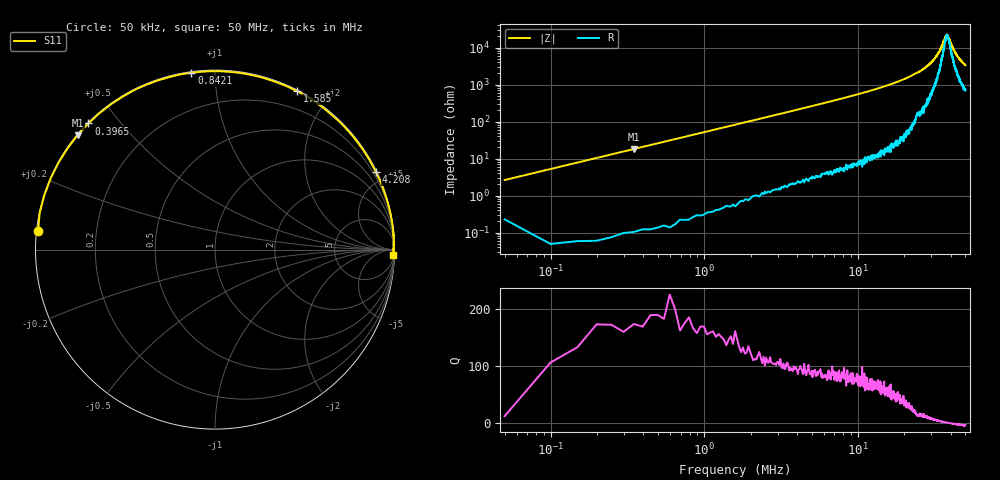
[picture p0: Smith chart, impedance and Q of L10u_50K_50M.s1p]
# HZ S RI R 50
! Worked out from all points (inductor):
!   1010 points, 50 kHz to 50 MHz, reference 50 ohm
!   read as one part to ground: L = 8.29 uH near 297.5 kHz
!   highest Q = 172 at 347 kHz (marker M1), where L = 8.3 uH
!   self-resonance near 38.02 MHz
!   S11 on the Smith chart (normalised r, x): 50 kHz: 0.00, +0.05; 396.5 kHz: 0.00, +0.41; 842.1 kHz: 0.01, +0.88; 1.585 MHz: 0.01, +1.65; 4.208 MHz: 0.04, +4.40; 50 MHz: 15, -65
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50000  -0.9856 0.1035
198512  -0.9154 0.3968
347024  -0.7657 0.6374
396528  -0.7055 0.7028
495536  -0.5768 0.8116
594544  -0.4448 0.8912
693552  -0.3132 0.9435
842064  -0.1311 0.9854
990576  0.0292 0.9937
1188592  0.2072 0.9717
1386608  0.348 0.9302
1584624  0.4586 0.8825
1782640  0.5458 0.8304
2030160  0.6286 0.7693
2277680  0.6932 0.7127
2574704  0.7505 0.6515
3267760  0.8365 0.5384
4208336  0.8977 0.4307
5148912  0.9299 0.3567
6337008  0.953 0.2914
8911216  0.9763 0.2043
1.257451e7  0.9885 0.1375
1.881202e7  0.9952 0.078
2.504952e7  0.9954 0.0445
3.128702e7  0.996 0.0203
3.752453e7  0.995 0.00147
4.376203e7  0.9946 -0.0146
4.999954e7  0.993 -0.029
